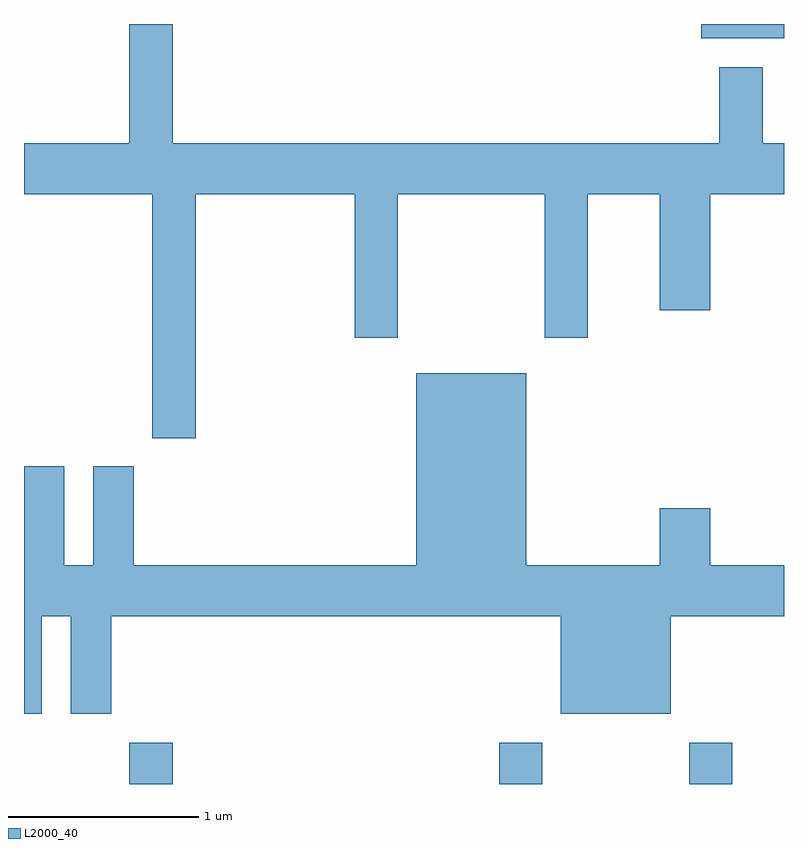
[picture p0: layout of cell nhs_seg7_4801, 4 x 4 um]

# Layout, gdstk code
import gdstk
lib = gdstk.Library(unit=1e-6, precision=1e-09)
def R(c, l, rs):  # rectangles x0, y0, x1, y1
    for r in rs: c.add(gdstk.rectangle(r[:2], r[2:], *l))
def P(c, l, *ps):  # polygons
    for p in ps: c.add(gdstk.Polygon(p, *l))
L2000_40 = (2000, 40)

nhs_seg7_4801 = lib.new_cell('nhs_seg7_4801')
R(nhs_seg7_4801, L2000_40, [(332.166,1782.252,332.394,1782.469), (334.111,1782.252,334.339,1782.469), (335.111,1782.252,335.339,1782.469), (335.176,1786.176,335.611,1786.252)])
P(nhs_seg7_4801, L2000_40, [(332.514,1785.356),(333.351,1785.356),(333.351,1784.601),(333.579,1784.601),(333.579,1785.356),(334.351,1785.356),(334.351,1784.601),(334.579,1784.601),(334.579,1785.356),(334.956,1785.356),(334.956,1784.746),(335.224,1784.746),(335.224,1785.356),(335.611,1785.356),(335.611,1785.624),(335.499,1785.624),(335.499,1786.024),(335.271,1786.024),(335.271,1785.624),(332.394,1785.624),(332.394,1786.252),(332.166,1786.252),(332.166,1785.624),(331.611,1785.624),(331.611,1785.356),(332.286,1785.356),(332.286,1784.071),(332.514,1784.071)],
  [(331.704,1783.136),(331.856,1783.136),(331.856,1782.621),(332.069,1782.621),(332.069,1783.136),(334.436,1783.136),(334.436,1782.621),(335.014,1782.621),(335.014,1783.136),(335.611,1783.136),(335.611,1783.404),(335.224,1783.404),(335.224,1783.704),(334.956,1783.704),(334.956,1783.404),(334.254,1783.404),(334.254,1784.414),(333.676,1784.414),(333.676,1783.404),(332.189,1783.404),(332.189,1783.924),(331.976,1783.924),(331.976,1783.404),(331.824,1783.404),(331.824,1783.924),(331.611,1783.924),(331.611,1782.621),(331.704,1782.621)])

lib.write_gds('nhs_seg7_4801.gds')
